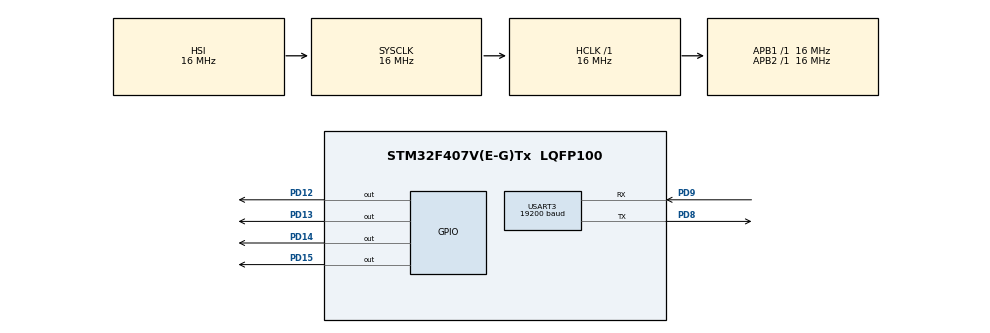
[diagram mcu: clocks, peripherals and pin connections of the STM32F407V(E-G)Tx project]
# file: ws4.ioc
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Mcu.Family=STM32F4
Mcu.Name=STM32F407V(E-G)Tx
Mcu.Package=LQFP100
NVIC.PriorityGroup=NVIC_PRIORITYGROUP_4
PD12.Signal=GPIO_Output
PD13.Signal=GPIO_Output
PD14.Signal=GPIO_Output
PD15.Signal=GPIO_Output
PD8.Mode=Asynchronous
PD8.Signal=USART3_TX
PD9.Mode=Asynchronous
PD9.Signal=USART3_RX
ProjectManager.HeapSize=0x200
ProjectManager.StackSize=0x400
ProjectManager.TargetToolchain=STM32CubeIDE
RCC.AHBFreq_Value=16000000
RCC.APB1Freq_Value=16000000
RCC.APB2Freq_Value=16000000
RCC.CortexFreq_Value=16000000
RCC.HSE_VALUE=25000000
RCC.HSI_VALUE=16000000
RCC.LSE_VALUE=32768
RCC.SYSCLKFreq_VALUE=16000000
RCC.VCOOutputFreq_Value=192000000
USART3.BaudRate=19200
USART3.VirtualMode=VM_ASYNC
board=custom

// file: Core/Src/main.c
/* USER CODE BEGIN Header */
/**
  ******************************************************************************
  * @file           : main.c
  * @brief          : Main program body
  ******************************************************************************
  * @attention
  *
  * Copyright (c) 2026 STMicroelectronics.
  * All rights reserved.
  *
  * This software is licensed under terms that can be found in the LICENSE file
  * in the root directory of this software component.
  * If no LICENSE file comes with this software, it is provided AS-IS.
  *
  ******************************************************************************
  */
/* USER CODE END Header */
#include "main.h"

UART_HandleTypeDef huart3;

void SystemClock_Config(void);
static void MX_GPIO_Init(void);
static void MX_USART3_UART_Init(void);

int main(void)
{

  /* MCU Configuration--------------------------------------------------------*/

  /* Reset of all peripherals, Initializes the Flash interface and the Systick. */
  HAL_Init();

  /* Configure the system clock */
  SystemClock_Config();

  /* Initialize all configured peripherals */
  MX_GPIO_Init();
  MX_USART3_UART_Init();

  /* Infinite loop */
  /* USER CODE BEGIN WHILE */
  while (1)
  {
  	  // Буфер для прийому 1 байта (одного символу)
	  uint8_t rcvBuf[1];
	  HAL_StatusTypeDef result;

  	  // Приймаємо 1 символ через UART
	  result = HAL_UART_Receive(&huart3, rcvBuf, 1, 10);

	  if (result == HAL_OK)
	  {
		  switch (rcvBuf[0])
		  {
		  	  case 'g':
		  		  // Вмикаємо зелений світлодіод на піні PD12
		  		  HAL_GPIO_WritePin(GPIOD, GPIO_PIN_12, GPIO_PIN_SET);
		  		  // Відправляємо повідомлення на 13 символів
		  		  HAL_UART_Transmit(&huart3, (uint8_t *)" - Green ON\r\n", 13, 100);
		  		  break;
		  	  case 'G':
		  		  // Вимикаємо зелений світлодіод на піні PD12
		  		  HAL_GPIO_WritePin(GPIOD, GPIO_PIN_12, GPIO_PIN_RESET);
		  		  // Відправляємо повідомлення на 14 символів
		  		  HAL_UART_Transmit(&huart3, (uint8_t *)" - Green OFF\r\n", 14, 100);
		  		  break;
		  	  case 'o':
		  		  // Вмикаємо оранжевий світлодіод на піні PD13
		  		  HAL_GPIO_WritePin(GPIOD, GPIO_PIN_13, GPIO_PIN_SET);
		  		  // Відправляємо повідомлення на 14 символів
		  		  HAL_UART_Transmit(&huart3, (uint8_t *)" - Orange ON\r\n", 14, 100);
		  		  break;
		  	  case 'O':
		  		  // Вимикаємо оранжевий світлодіод на піні PD13
		  		  HAL_GPIO_WritePin(GPIOD, GPIO_PIN_13, GPIO_PIN_RESET);
		  		  // Відправляємо повідомлення на 15 символів
		  		  HAL_UART_Transmit(&huart3, (uint8_t *)" - Orange OFF\r\n", 15, 100);
		  		  break;
		  	  case 'r':
		  		  // Вмикаємо червоний світлодіод на піні PD14
		  		  HAL_GPIO_WritePin(GPIOD, GPIO_PIN_14, GPIO_PIN_SET);
		  		  // Відправляємо повідомлення на 11 символів
		  		  HAL_UART_Transmit(&huart3, (uint8_t *)" - Red ON\r\n", 11, 100);
		  		  break;
		  	  case 'R':
		  		  // Вимикаємо червоний світлодіод на піні PD14
		  		  HAL_GPIO_WritePin(GPIOD, GPIO_PIN_14, GPIO_PIN_RESET);
		  		  // Відправляємо повідомлення на 12 символів
		  		  HAL_UART_Transmit(&huart3, (uint8_t *)" - Red OFF\r\n", 12, 100);
		  		  break;
		  	  case 'b':
		  		  // Вмикаємо синій світлодіод на піні PD15
		  		  HAL_GPIO_WritePin(GPIOD, GPIO_PIN_15, GPIO_PIN_SET);
		  		  // Відправляємо повідомлення на 12 символів
		  		  HAL_UART_Transmit(&huart3, (uint8_t *)" - Blue ON\r\n", 12, 100);
		  		  break;
		  	  case 'B':
		  		  // Вимикаємо синій світлодіод на піні PD15
		  		  HAL_GPIO_WritePin(GPIOD, GPIO_PIN_15, GPIO_PIN_RESET);
		  		  // Відправляємо повідомлення на 13 символів
		  		  HAL_UART_Transmit(&huart3, (uint8_t *)" - Blue OFF\r\n", 13, 100);
		  		  break;
		  	  case 'a':
		  		  // Вмикаємо всі світлодіоди
		  		  HAL_GPIO_WritePin(GPIOD, GPIO_PIN_12, GPIO_PIN_SET);
		  		  HAL_GPIO_WritePin(GPIOD, GPIO_PIN_13, GPIO_PIN_SET);
		  		  HAL_GPIO_WritePin(GPIOD, GPIO_PIN_14, GPIO_PIN_SET);
		  		  HAL_GPIO_WritePin(GPIOD, GPIO_PIN_15, GPIO_PIN_SET);
		  		  // Відправляємо повідомлення на 11 символів
		  		  HAL_UART_Transmit(&huart3, (uint8_t *)" - ALL ON\r\n", 11, 100);
		  		  break;
		  	  case 'A':
		  		  // Вимикаємо всі світлодіоди
		  		  HAL_GPIO_WritePin(GPIOD, GPIO_PIN_12, GPIO_PIN_RESET);
		  		  HAL_GPIO_WritePin(GPIOD, GPIO_PIN_13, GPIO_PIN_RESET);
		  		  HAL_GPIO_WritePin(GPIOD, GPIO_PIN_14, GPIO_PIN_RESET);
		  		  HAL_GPIO_WritePin(GPIOD, GPIO_PIN_15, GPIO_PIN_RESET);
		  		  // Відправляємо повідомлення на 12 символів
		  		  HAL_UART_Transmit(&huart3, (uint8_t *)" - ALL OFF\r\n", 12, 100);
		  		  break;
		  	  // Якщо прийшов невідомий символ
		  	  default:
		  		  // Відправляємо повідомлення на 13 символів
		  		  HAL_UART_Transmit(&huart3, (uint8_t *)" - UnexpCmd\r\n", 13, 100);
		  }
	  }
    /* USER CODE END WHILE */

  }
}

void SystemClock_Config(void)
{
  RCC_OscInitTypeDef RCC_OscInitStruct = {0};
  RCC_ClkInitTypeDef RCC_ClkInitStruct = {0};

  /** Configure the main internal regulator output voltage
  */
  __HAL_RCC_PWR_CLK_ENABLE();
  __HAL_PWR_VOLTAGESCALING_CONFIG(PWR_REGULATOR_VOLTAGE_SCALE1);

  /** Initializes the RCC Oscillators according to the specified parameters
  * in the RCC_OscInitTypeDef structure.
  */
  RCC_OscInitStruct.OscillatorType = RCC_OSCILLATORTYPE_HSI;
  RCC_OscInitStruct.HSIState = RCC_HSI_ON;
  RCC_OscInitStruct.HSICalibrationValue = RCC_HSICALIBRATION_DEFAULT;
  RCC_OscInitStruct.PLL.PLLState = RCC_PLL_NONE;
  if (HAL_RCC_OscConfig(&RCC_OscInitStruct) != HAL_OK)
  {
    Error_Handler();
  }

  /** Initializes the CPU, AHB and APB buses clocks
  */
  RCC_ClkInitStruct.ClockType = RCC_CLOCKTYPE_HCLK|RCC_CLOCKTYPE_SYSCLK
                              |RCC_CLOCKTYPE_PCLK1|RCC_CLOCKTYPE_PCLK2;
  RCC_ClkInitStruct.SYSCLKSource = RCC_SYSCLKSOURCE_HSI;
  RCC_ClkInitStruct.AHBCLKDivider = RCC_SYSCLK_DIV1;
  RCC_ClkInitStruct.APB1CLKDivider = RCC_HCLK_DIV1;
  RCC_ClkInitStruct.APB2CLKDivider = RCC_HCLK_DIV1;

  if (HAL_RCC_ClockConfig(&RCC_ClkInitStruct, FLASH_LATENCY_0) != HAL_OK)
  {
    Error_Handler();
  }
}

static void MX_USART3_UART_Init(void)
{

  huart3.Instance = USART3;
  huart3.Init.BaudRate = 19200;
  huart3.Init.WordLength = UART_WORDLENGTH_8B;
  huart3.Init.StopBits = UART_STOPBITS_1;
  huart3.Init.Parity = UART_PARITY_NONE;
  huart3.Init.Mode = UART_MODE_TX_RX;
  huart3.Init.HwFlowCtl = UART_HWCONTROL_NONE;
  huart3.Init.OverSampling = UART_OVERSAMPLING_16;
  if (HAL_UART_Init(&huart3) != HAL_OK)
  {
    Error_Handler();
  }

}

static void MX_GPIO_Init(void)
{
  GPIO_InitTypeDef GPIO_InitStruct = {0};

  /* GPIO Ports Clock Enable */
  __HAL_RCC_GPIOD_CLK_ENABLE();

  /*Configure GPIO pin Output Level */
  HAL_GPIO_WritePin(GPIOD, GPIO_PIN_12|GPIO_PIN_13|GPIO_PIN_14|GPIO_PIN_15, GPIO_PIN_RESET);

  /*Configure GPIO pins : PD12 PD13 PD14 PD15 */
  GPIO_InitStruct.Pin = GPIO_PIN_12|GPIO_PIN_13|GPIO_PIN_14|GPIO_PIN_15;
  GPIO_InitStruct.Mode = GPIO_MODE_OUTPUT_PP;
  GPIO_InitStruct.Pull = GPIO_NOPULL;
  GPIO_InitStruct.Speed = GPIO_SPEED_FREQ_LOW;
  HAL_GPIO_Init(GPIOD, &GPIO_InitStruct);

}

void Error_Handler(void)
{
  __disable_irq();
  while (1)
  {
  }
}
